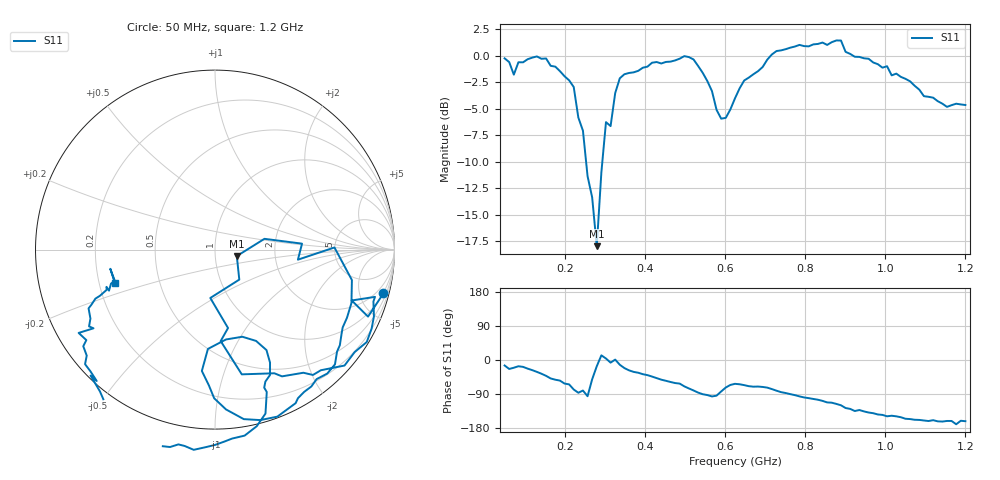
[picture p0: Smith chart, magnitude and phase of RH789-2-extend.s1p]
# HZ S RI R 50
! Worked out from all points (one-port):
!   101 points, 50 MHz to 1.2 GHz, reference 50 ohm
!   lowest |S11| = -17.9 dB at 280 MHz (marker M1), VSWR 1.29, Z = 63.6 - j4.67 ohm
!   |S11| at or under -10 dB: 253.4 MHz to 293.9 MHz (40.54 MHz wide, 14.8 % of centre)
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5e7  0.9386 -0.2436
6.15e7  0.8526 -0.3734
7.3e7  0.7618 -0.2835
8.45e7  0.8915 -0.2633
1.305e8  0.8455 -0.515
1.995e8  0.3733 -0.7063
2.225e8  0.1492 -0.6951
2.34e8  0.0317 -0.5097
2.57e8  -0.0262 -0.2696
2.8e8  0.1215 -0.0361
3.03e8  0.4849 0.0331
3.145e8  0.462 -0.0561
3.26e8  0.6656 0.0118
3.375e8  0.7628 -0.1696
3.72e8  0.7113 -0.4339
4.87e8  0.4492 -0.8555
5.215e8  0.1604 -0.9445
5.675e8  -0.0733 -0.6762
5.905e8  0.0613 -0.5007
6.25e8  0.2868 -0.5598
7.055e8  0.2812 -0.9136
7.745e8  -0.0525 -1.101
8.78e8  -0.5138 -1.059
9.125e8  -0.641 -0.79
1.0045e9  -0.7596 -0.4643
1.062e9  -0.6899 -0.3089
1.177e9  -0.5834 -0.1069
1.2e9  -0.5548 -0.1851
